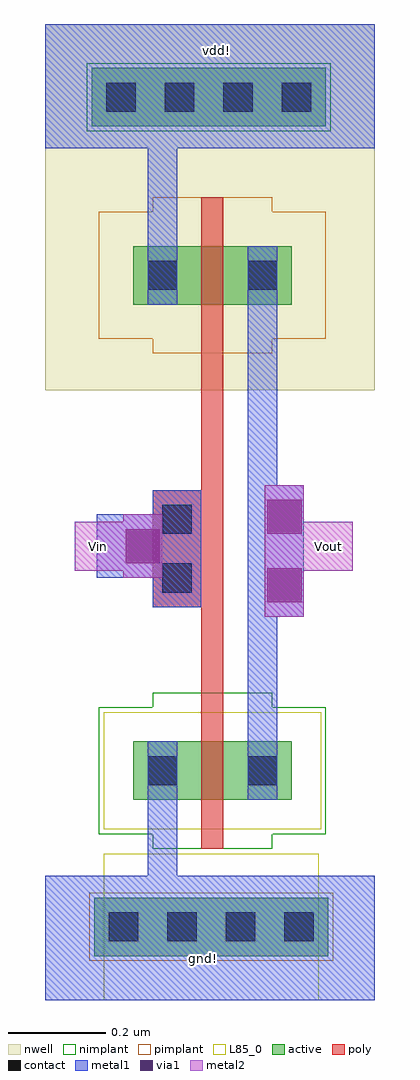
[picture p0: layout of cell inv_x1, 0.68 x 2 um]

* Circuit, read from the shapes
.subckt inv_x1 Vin Vout gnd! vdd!
M1 Vout Vin gnd! gnd! nfet w=0.12u l=0.045u
M2 Vout Vin vdd! vdd! pfet w=0.12u l=0.045u
.ends

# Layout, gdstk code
import gdstk
lib = gdstk.Library(unit=1e-6, precision=5e-10)
def R(c, l, rs):  # rectangles x0, y0, x1, y1
    for r in rs: c.add(gdstk.rectangle(r[:2], r[2:], *l))
def A(c, l, x, y, w, h, nx, ny, dx, dy):  # array of equal rectangles
    R(c, l, [(x+i*dx, y+j*dy, x+i*dx+w, y+j*dy+h) for i in range(nx) for j in range(ny)])
active = (1, 0)
nwell = (2, 0)
poly = (3, 0)
nimplant = (4, 0)
pimplant = (5, 0)
contact = (6, 0)
metal1 = (7, 0)
via1 = (8, 0)
metal2 = (9, 0)
L85_0 = (85, 0)

nmos1v_cdns_757365114270 = lib.new_cell('nmos1v_CDNS_757365114270')
R(nmos1v_cdns_757365114270, active, [(-0.14,0,0,0.12), (0,0,0.045,0.12), (0.045,0,0.185,0.12)])
R(nmos1v_cdns_757365114270, poly, [(0,-0.1,0.045,-0.05), (0,-0.05,0.045,0), (0,0,0.045,0.12), (0,0.12,0.045,0.17), (0,0.17,0.045,0.22)])
R(nmos1v_cdns_757365114270, nimplant, [(-0.1,-0.1,0.145,0.22), (-0.21,-0.07,0.255,0.19)])
R(nmos1v_cdns_757365114270, contact, [(-0.11,0.03,-0.05,0.09), (0.095,0.03,0.155,0.09)])
R(nmos1v_cdns_757365114270, metal1, [(-0.11,0,-0.05,0.12), (0.095,0,0.155,0.12)])
R(nmos1v_cdns_757365114270, L85_0, [(-0.2,-0.06,0.245,0.18)])

pmos1v_cdns_757365114271 = lib.new_cell('pmos1v_CDNS_757365114271')
R(pmos1v_cdns_757365114271, active, [(-0.14,0,0,0.12), (0,0,0.045,0.12), (0.045,0,0.185,0.12)])
R(pmos1v_cdns_757365114271, nwell, [(-0.2,-0.06,0.245,0.18)])
R(pmos1v_cdns_757365114271, poly, [(0,-0.1,0.045,-0.05), (0,-0.05,0.045,0), (0,0,0.045,0.12), (0,0.12,0.045,0.17), (0,0.17,0.045,0.22)])
R(pmos1v_cdns_757365114271, pimplant, [(-0.1,-0.1,0.145,0.22), (-0.21,-0.07,0.255,0.19)])
R(pmos1v_cdns_757365114271, contact, [(-0.11,0.03,-0.05,0.09), (0.095,0.03,0.155,0.09)])
R(pmos1v_cdns_757365114271, metal1, [(-0.11,0,-0.05,0.12), (0.095,0,0.155,0.12)])

m2_m1_cdns_757365114270 = lib.new_cell('M2_M1_CDNS_757365114270')
R(m2_m1_cdns_757365114270, metal1, [(-0.04,-0.135,0.04,0.135)])
R(m2_m1_cdns_757365114270, via1, [(-0.035,-0.105,0.035,-0.035), (-0.035,0.035,0.035,0.105)])
R(m2_m1_cdns_757365114270, metal2, [(-0.04,-0.135,0.04,0.135)])

m1_psub_cdns_75736511427 = lib.new_cell('M1_PSUB_CDNS_757365114271')
R(m1_psub_cdns_75736511427, active, [(-0.24,-0.06,0.24,0.06)])
R(m1_psub_cdns_75736511427, pimplant, [(-0.25,-0.07,0.25,0.07)])
A(m1_psub_cdns_75736511427, contact, -0.21, -0.03, 0.06, 0.06, 4, 1, 0.12, 0)
R(m1_psub_cdns_75736511427, metal1, [(-0.21,-0.06,0.21,0.06)])
R(m1_psub_cdns_75736511427, L85_0, [(-0.22,-0.15,0.22,0.15)])

m1_po_cdns_757365114272 = lib.new_cell('M1_PO_CDNS_757365114272')
R(m1_po_cdns_757365114272, poly, [(-0.05,-0.12,0.05,0.12)])
R(m1_po_cdns_757365114272, contact, [(-0.03,-0.09,0.03,-0.03), (-0.03,0.03,0.03,0.09)])
R(m1_po_cdns_757365114272, metal1, [(-0.05,-0.12,0.05,0.12)])

m2_m1_cdns_757365114273 = lib.new_cell('M2_M1_CDNS_757365114273')
R(m2_m1_cdns_757365114273, metal1, [(-0.095,-0.065,0.095,0.065)])
R(m2_m1_cdns_757365114273, via1, [(-0.035,-0.035,0.035,0.035)])
R(m2_m1_cdns_757365114273, metal2, [(-0.04,-0.065,0.04,0.065)])

m1_nwell_cdns_7573651142 = lib.new_cell('M1_NWELL_CDNS_757365114274')
R(m1_nwell_cdns_7573651142, active, [(-0.24,-0.06,0.24,0.06)])
R(m1_nwell_cdns_7573651142, nwell, [(-0.27,-0.15,0.27,0.15)])
R(m1_nwell_cdns_7573651142, nimplant, [(-0.25,-0.07,0.25,0.07)])
A(m1_nwell_cdns_7573651142, contact, -0.21, -0.03, 0.06, 0.06, 4, 1, 0.12, 0)
R(m1_nwell_cdns_7573651142, metal1, [(-0.21,-0.06,0.21,0.06)])

inv_x1 = lib.new_cell('inv_x1')
R(inv_x1, nwell, [(0,1.25,0.675,2)])
R(inv_x1, metal1, [(0,0,0.675,0.255), (0.275,0.035,0.375,0.135), (0,1.745,0.675,2), (0.3,1.895,0.4,1.995)])
R(inv_x1, metal2, [(0.06,0.88,0.16,0.98), (0.53,0.88,0.63,0.98)])
inv_x1.add(gdstk.FlexPath([(0.3425,1.325),(0.3425,0.63)], 0.045, ends="flush", simple_path=True, layer=3, datatype=0))  # poly
inv_x1.add(gdstk.FlexPath([(0.24,1.545),(0.24,1.93)], 0.06, ends=(0, 0.07), simple_path=True, layer=7, datatype=0))  # metal1
inv_x1.add(gdstk.FlexPath([(0.24,0.41),(0.24,0.07)], 0.06, ends=(0, 0.07), simple_path=True, layer=7, datatype=0))  # metal1
inv_x1.add(gdstk.FlexPath([(0.445,1.425),(0.445,0.53)], 0.06, ends="flush", simple_path=True, layer=7, datatype=0))  # metal1
inv_x1.add(gdstk.Reference(nmos1v_cdns_757365114270, (0.32,0.41)))
inv_x1.add(gdstk.Reference(pmos1v_cdns_757365114271, (0.32,1.425)))
inv_x1.add(gdstk.Reference(m2_m1_cdns_757365114270, (0.49,0.92)))
inv_x1.add(gdstk.Reference(m1_psub_cdns_75736511427, (0.34,0.15)))
inv_x1.add(gdstk.Reference(m1_po_cdns_757365114272, (0.27,0.925)))
inv_x1.add(gdstk.Reference(m2_m1_cdns_757365114273, (0.2,0.93)))
inv_x1.add(gdstk.Reference(m1_nwell_cdns_7573651142, (0.335,1.85)))
inv_x1.add(gdstk.Label('vdd!', (0.35,1.945), layer=7, texttype=0))
inv_x1.add(gdstk.Label('gnd!', (0.325,0.085), layer=7, texttype=0))
inv_x1.add(gdstk.Label('Vin', (0.11,0.93), layer=9, texttype=0))
inv_x1.add(gdstk.Label('Vout', (0.58,0.93), layer=9, texttype=0))

lib.write_gds('inv_x1.gds')
